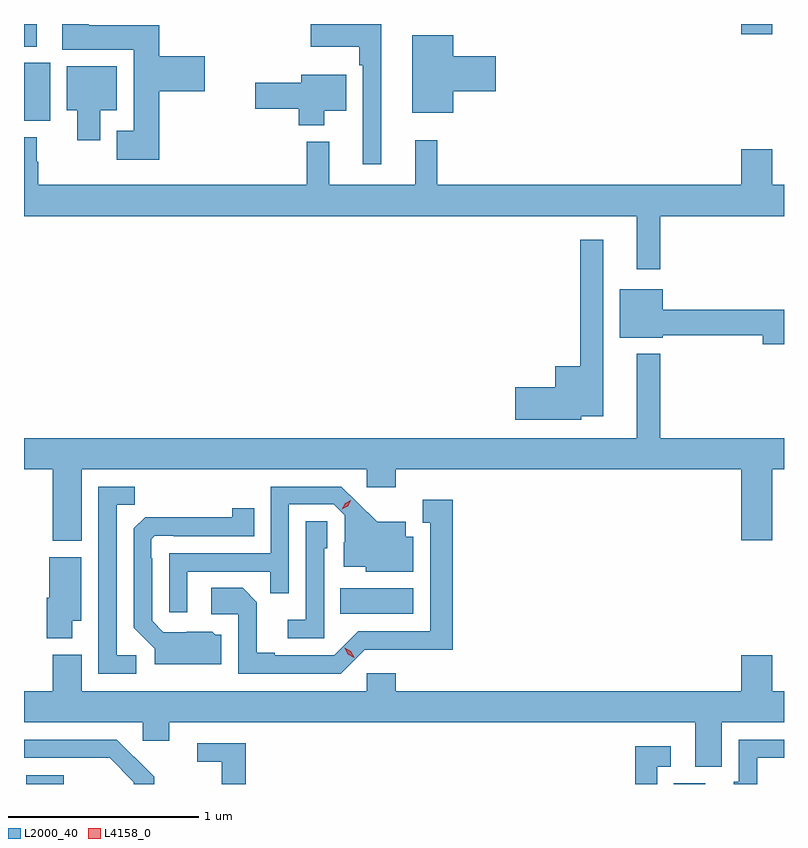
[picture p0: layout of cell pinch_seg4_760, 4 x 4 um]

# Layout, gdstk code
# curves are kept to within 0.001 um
import gdstk
lib = gdstk.Library(unit=1e-6, precision=1e-09)
def R(c, l, rs):  # rectangles x0, y0, x1, y1
    for r in rs: c.add(gdstk.rectangle(r[:2], r[2:], *l))
def P(c, l, *ps):  # polygons
    for p in ps: c.add(gdstk.Polygon(p, *l))
L2000_40 = (2000, 40)
L4158_0 = (4158, 0)

pinch_seg4_760 = lib.new_cell('pinch_seg4_760')
R(pinch_seg4_760, L2000_40, [(772.632,816.475,772.83,816.522), (776.042,816.475,776.206,816.48), (774.286,817.37,774.67,817.504), (772.621,819.965,772.759,820.27), (772.621,820.355,772.687,820.475), (776.396,820.422,776.56,820.475)])
P(pinch_seg4_760, L2000_40, [(774.502,820.475),(774.131,820.475),(774.131,820.355),(774.385,820.355),(774.385,820.259),(774.405,820.259),(774.405,819.738),(774.502,819.738)],
  [(773.333,820.121),(773.572,820.121),(773.572,820.304),(773.333,820.304),(773.333,820.468),(772.963,820.468),(772.963,820.475),(772.823,820.475),(772.823,820.34),(773.198,820.34),(773.198,819.913),(773.108,819.913),(773.108,819.761),(773.333,819.761)],
  [(774.88,820.121),(775.105,820.121),(775.105,820.304),(774.88,820.304),(774.88,820.417),(774.665,820.417),(774.665,820.007),(774.88,820.007)],
  [(773.023,820.022),(773.11,820.022),(773.11,820.252),(772.847,820.252),(772.847,820.022),(772.901,820.022),(772.901,819.864),(773.023,819.864)],
  [(774.202,820.019),(774.316,820.019),(774.316,820.207),(774.08,820.207),(774.08,820.167),(773.838,820.167),(773.838,820.03),(774.068,820.03),(774.068,819.941),(774.202,819.941)],
  [(775.969,819.464),(776.621,819.464),(776.621,819.628),(776.56,819.628),(776.56,819.817),(776.396,819.817),(776.396,819.628),(774.797,819.628),(774.797,819.862),(774.68,819.862),(774.68,819.628),(774.227,819.628),(774.227,819.856),(774.109,819.856),(774.109,819.628),(772.695,819.628),(772.695,819.749),(772.687,819.749),(772.687,819.88),(772.621,819.88),(772.621,819.464),(775.847,819.464),(775.847,819.183),(775.969,819.183)],
  [(775.554,818.411),(775.669,818.411),(775.669,819.34),(775.548,819.34),(775.548,818.674),(775.418,818.674),(775.418,818.564),(775.206,818.564),(775.206,818.393),(775.554,818.393)],
  [(776.621,818.972),(775.984,818.972),(775.984,819.079),(775.757,819.079),(775.757,818.825),(775.984,818.825),(775.984,818.836),(776.51,818.836),(776.51,818.789),(776.621,818.789)],
  [(772.924,818.132),(774.426,818.132),(774.426,818.037),(774.578,818.037),(774.578,818.132),(776.396,818.132),(776.396,817.758),(776.56,817.758),(776.56,818.132),(776.621,818.132),(776.621,818.296),(775.969,818.296),(775.969,818.74),(775.847,818.74),(775.847,818.296),(772.621,818.296),(772.621,818.132),(772.772,818.132),(772.772,817.754),(772.924,817.754)],
  [(773.212,817.152),(773.109,817.152),(773.109,817.945),(773.205,817.945),(773.205,818.04),(773.013,818.04),(773.013,817.056),(773.212,817.056)],
  [(773.481,817.593),(773.917,817.593),(773.917,817.48),(774.015,817.48),(774.015,817.947),(774.252,817.947),(774.309,817.89),(774.309,817.748),(774.305,817.748),(774.305,817.619),(774.42,817.619),(774.42,817.592),(774.67,817.592),(774.67,817.777),(774.631,817.777),(774.631,817.855),(774.479,817.855),(774.292,818.04),(773.919,818.04),(773.919,817.689),(773.385,817.689),(773.385,817.38),(773.481,817.38)],
  [(774.414,817.182),(774.877,817.181),(774.877,817.972),(774.719,817.972),(774.719,817.851),(774.758,817.851),(774.758,817.278),(774.381,817.278),(774.255,817.152),(773.941,817.152),(773.941,817.165),(773.847,817.165),(773.847,817.432),(773.771,817.508),(773.607,817.508),(773.607,817.368),(773.748,817.368),(773.748,817.056),(774.288,817.056)],
  [(773.659,817.26),(773.628,817.26),(773.612,817.276),(773.355,817.275),(773.295,817.335),(773.295,817.664),(773.292,817.664),(773.292,817.764),(773.31,817.782),(773.41,817.782),(773.41,817.779),(773.834,817.779),(773.834,817.927),(773.716,817.927),(773.716,817.88),(773.258,817.879),(773.199,817.82),(773.199,817.298),(773.309,817.188),(773.309,817.106),(773.659,817.106)],
  [(774.201,817.716),(774.216,817.716),(774.216,817.859),(774.105,817.859),(774.105,817.339),(774.009,817.339),(774.009,817.242),(774.201,817.242)],
  [(772.876,817.334),(772.921,817.334),(772.921,817.669),(772.754,817.669),(772.754,817.455),(772.742,817.455),(772.742,817.241),(772.876,817.241)],
  [(776.293,816.8),(776.621,816.8),(776.621,816.964),(776.56,816.964),(776.56,817.153),(776.396,817.153),(776.396,816.964),(774.578,816.964),(774.578,817.057),(774.426,817.057),(774.426,816.964),(772.924,816.964),(772.924,817.156),(772.772,817.156),(772.772,816.964),(772.621,816.964),(772.621,816.8),(773.247,816.8),(773.247,816.702),(773.386,816.702),(773.386,816.8),(776.153,816.8),(776.153,816.565),(776.293,816.565)],
  [(773.307,816.513),(773.202,816.618),(773.201,816.617),(773.11,816.708),(772.621,816.708),(772.621,816.612),(773.071,816.612),(773.199,816.483),(773.199,816.475),(773.307,816.475)],
  [(776.479,816.612),(776.621,816.612),(776.621,816.708),(776.382,816.708),(776.382,816.486),(776.357,816.486),(776.357,816.475),(776.479,816.475)],
  [(773.789,816.69),(773.532,816.69),(773.532,816.593),(773.661,816.593),(773.661,816.475),(773.789,816.475)],
  [(775.953,816.567),(776.026,816.567),(776.026,816.673),(775.837,816.673),(775.837,816.475),(775.953,816.475)])
P(pinch_seg4_760, L4158_0, [(774.358,817.14),(774.326,817.159),(774.308,817.192),(774.308,817.192),(774.308,817.192),(774.34,817.173),(774.358,817.141),(774.358,817.14)],
  [(774.294,817.922),(774.294,817.922),(774.311,817.952),(774.341,817.968),(774.341,817.968),(774.341,817.967),(774.324,817.937),(774.294,817.922)])

lib.write_gds('pinch_seg4_760.gds')
